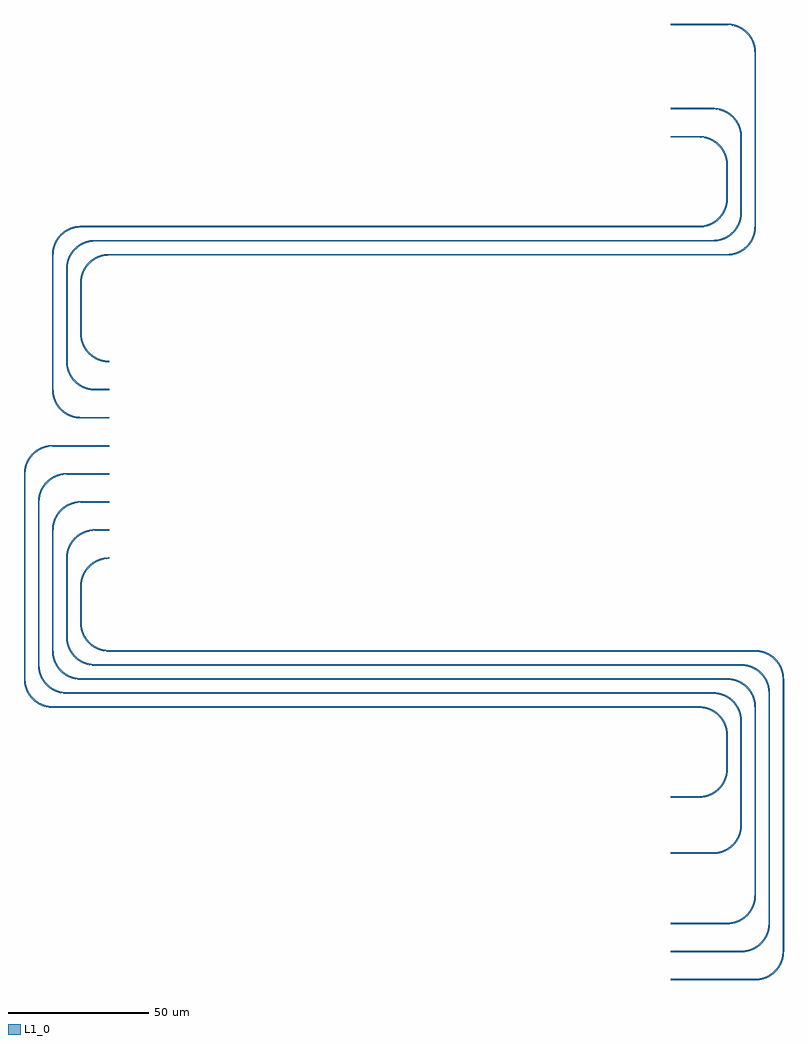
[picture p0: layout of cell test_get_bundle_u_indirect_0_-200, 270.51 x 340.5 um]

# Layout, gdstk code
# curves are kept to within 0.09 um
from math import pi, radians
import gdstk
lib = gdstk.Library(unit=1e-6, precision=1e-09)
def R(c, l, rs):  # rectangles x0, y0, x1, y1
    for r in rs: c.add(gdstk.rectangle(r[:2], r[2:], *l))
def P(c, l, *ps):  # polygons
    for p in ps: c.add(gdstk.Polygon(p, *l))
L1_0 = (1, 0)

bend_circular_cross_sec_ = lib.new_cell('bend_circular_cross_sec_81c7ebae')
P(bend_circular_cross_sec_, L1_0, [(0,-0.25),(1.967,-0.06),(3.013,0.203),(3.943,0.539),(5.685,1.471),(7.216,2.72),(8.479,4.24),(9.037,5.163),(9.461,6.057),(9.797,6.987),(10.06,8.033),(10.25,10),(9.75,10),(9.687,8.89),(9.516,7.878),(9.185,6.728),(8.79,5.781),(7.968,4.38),(6.924,3.136),(5.62,2.032),(4.219,1.21),(3.272,0.815),(2.122,0.484),(1.11,0.313),(0,0.25)])

straight_cross_sectionc_ = lib.new_cell('straight_cross_sectionc_74a84bee')
R(straight_cross_sectionc_, L1_0, [(0,-0.25,10,0.25)])

c_straight_cross_sectionc_ = lib.new_cell('straight_cross_sectionc_256c916e')
R(c_straight_cross_sectionc_, L1_0, [(0,-0.25,12,0.25)])

taper_cross_sectioncros_ = lib.new_cell('taper_cross_sectioncros_b20f334d')
R(taper_cross_sectioncros_, L1_0, [(0,-0.25,10,0.25)])

c_straight_cross_sectionc__ = lib.new_cell('straight_cross_sectionc_b9691882')
R(c_straight_cross_sectionc__, L1_0, [(0,-0.25,210.01,0.25)])

c_straight_cross_sectionc___ = lib.new_cell('straight_cross_sectionc_eeff4828')
R(c_straight_cross_sectionc___, L1_0, [(0,-0.25,73,0.25)])

c_straight_cross_sectionc____ = lib.new_cell('straight_cross_sectionc_2ac3342b')
R(c_straight_cross_sectionc____, L1_0, [(0,-0.25,20.01,0.25)])

c_straight_cross_sectionc_____ = lib.new_cell('straight_cross_sectionc_ccc8b978')
R(c_straight_cross_sectionc_____, L1_0, [(0,-0.25,15,0.25)])

c_straight_cross_sectionc______ = lib.new_cell('straight_cross_sectionc_3a0079ec')
R(c_straight_cross_sectionc______, L1_0, [(0,-0.25,37,0.25)])

c_straight_cross_sectionc_______ = lib.new_cell('straight_cross_sectionc_e7f5f520')
R(c_straight_cross_sectionc_______, L1_0, [(0,-0.25,58,0.25)])

c_straight_cross_sectionc________ = lib.new_cell('straight_cross_sectionc_7b91e607')
R(c_straight_cross_sectionc________, L1_0, [(0,-0.25,15.01,0.25)])

c_straight_cross_sectionc_________ = lib.new_cell('straight_cross_sectionc_7da930e0')
R(c_straight_cross_sectionc_________, L1_0, [(0,-0.25,20,0.25)])

c_straight_cross_sectionc__________ = lib.new_cell('straight_cross_sectionc_18cfbed0')
R(c_straight_cross_sectionc__________, L1_0, [(0,-0.25,67,0.25)])

c_straight_cross_sectionc___________ = lib.new_cell('straight_cross_sectionc_7511e1c2')
R(c_straight_cross_sectionc___________, L1_0, [(0,-0.25,43,0.25)])

c_straight_cross_sectionc____________ = lib.new_cell('straight_cross_sectionc_236e7ba1')
R(c_straight_cross_sectionc____________, L1_0, [(0,-0.25,10.01,0.25)])

c_straight_cross_sectionc_____________ = lib.new_cell('straight_cross_sectionc_07ffc600')
R(c_straight_cross_sectionc_____________, L1_0, [(0,-0.25,25,0.25)])

c_straight_cross_sectionc______________ = lib.new_cell('straight_cross_sectionc_e2d83a7b')
R(c_straight_cross_sectionc______________, L1_0, [(0,-0.25,82,0.25)])

c_straight_cross_sectionc_______________ = lib.new_cell('straight_cross_sectionc_ee92766f')
R(c_straight_cross_sectionc_______________, L1_0, [(0,-0.25,28,0.25)])

c_straight_cross_sectionc________________ = lib.new_cell('straight_cross_sectionc_0009f424')
R(c_straight_cross_sectionc________________, L1_0, [(0,-0.25,5.01,0.25)])

c_straight_cross_sectionc_________________ = lib.new_cell('straight_cross_sectionc_134885ba')
R(c_straight_cross_sectionc_________________, L1_0, [(0,-0.25,30,0.25)])

c_straight_cross_sectionc__________________ = lib.new_cell('straight_cross_sectionc_d660ddb1')
R(c_straight_cross_sectionc__________________, L1_0, [(0,-0.25,97,0.25)])

c_straight_cross_sectionc___________________ = lib.new_cell('straight_cross_sectionc_5ea4f134')
R(c_straight_cross_sectionc___________________, L1_0, [(0,-0.25,13,0.25)])

c_straight_cross_sectionc____________________ = lib.new_cell('straight_cross_sectionc_aca44847')
R(c_straight_cross_sectionc____________________, L1_0, [(0,-0.25,0.01,0.25)])

c_straight_cross_sectionc_____________________ = lib.new_cell('straight_cross_sectionc_b4956510')
R(c_straight_cross_sectionc_____________________, L1_0, [(0,-0.25,200.01,0.25)])

c_straight_cross_sectionc______________________ = lib.new_cell('straight_cross_sectionc_bd004c06')
R(c_straight_cross_sectionc______________________, L1_0, [(0,-0.25,48,0.25)])

c_straight_cross_sectionc_______________________ = lib.new_cell('straight_cross_sectionc_c0912e09')
R(c_straight_cross_sectionc_______________________, L1_0, [(0,-0.25,27,0.25)])

c_straight_cross_sectionc________________________ = lib.new_cell('straight_cross_sectionc_541b98be')
R(c_straight_cross_sectionc________________________, L1_0, [(0,-0.25,33,0.25)])

c_straight_cross_sectionc_________________________ = lib.new_cell('straight_cross_sectionc_62c1add6')
R(c_straight_cross_sectionc_________________________, L1_0, [(0,-0.25,62,0.25)])

c_straight_cross_sectionc__________________________ = lib.new_cell('straight_cross_sectionc_dd055ee9')
R(c_straight_cross_sectionc__________________________, L1_0, [(0,-0.25,18,0.25)])

test_get_bundle_u_indire = lib.new_cell('test_get_bundle_u_indirect_0_-200')
test_get_bundle_u_indire.add(gdstk.Reference(bend_circular_cross_sec_, (10,-35)))
test_get_bundle_u_indire.add(gdstk.Reference(bend_circular_cross_sec_, (20,-13), rotation=pi/2))
test_get_bundle_u_indire.add(gdstk.Reference(bend_circular_cross_sec_, (-220.01,-3), rotation=pi, x_reflection=True))
test_get_bundle_u_indire.add(gdstk.Reference(bend_circular_cross_sec_, (-230.01,80), rotation=pi/2, x_reflection=True))
test_get_bundle_u_indire.add(gdstk.Reference(straight_cross_sectionc_, (0,-35)))
test_get_bundle_u_indire.add(gdstk.Reference(c_straight_cross_sectionc_, (20,-25), rotation=pi/2))
test_get_bundle_u_indire.add(gdstk.Reference(taper_cross_sectioncros_, (10,-3), rotation=pi))
test_get_bundle_u_indire.add(gdstk.Reference(c_straight_cross_sectionc__, (0,-3), rotation=pi))
test_get_bundle_u_indire.add(gdstk.Reference(taper_cross_sectioncros_, (-220.01,-3)))
test_get_bundle_u_indire.add(gdstk.Reference(c_straight_cross_sectionc___, (-230.01,7), rotation=pi/2))
test_get_bundle_u_indire.add(gdstk.Reference(c_straight_cross_sectionc____, (-220.01,90)))
test_get_bundle_u_indire.add(gdstk.Reference(bend_circular_cross_sec_, (15,-55)))
test_get_bundle_u_indire.add(gdstk.Reference(bend_circular_cross_sec_, (25,-8), rotation=pi/2))
test_get_bundle_u_indire.add(gdstk.Reference(bend_circular_cross_sec_, (-215.01,2), rotation=pi, x_reflection=True))
test_get_bundle_u_indire.add(gdstk.Reference(bend_circular_cross_sec_, (-225.01,70), rotation=pi/2, x_reflection=True))
test_get_bundle_u_indire.add(gdstk.Reference(c_straight_cross_sectionc_____, (0,-55)))
test_get_bundle_u_indire.add(gdstk.Reference(c_straight_cross_sectionc______, (25,-45), rotation=pi/2))
test_get_bundle_u_indire.add(gdstk.Reference(taper_cross_sectioncros_, (15,2), rotation=pi))
test_get_bundle_u_indire.add(gdstk.Reference(c_straight_cross_sectionc__, (5,2), rotation=pi))
test_get_bundle_u_indire.add(gdstk.Reference(taper_cross_sectioncros_, (-215.01,2)))
test_get_bundle_u_indire.add(gdstk.Reference(c_straight_cross_sectionc_______, (-225.01,12), rotation=pi/2))
test_get_bundle_u_indire.add(gdstk.Reference(c_straight_cross_sectionc________, (-215.01,80)))
test_get_bundle_u_indire.add(gdstk.Reference(bend_circular_cross_sec_, (20,-80)))
test_get_bundle_u_indire.add(gdstk.Reference(bend_circular_cross_sec_, (30,-3), rotation=pi/2))
test_get_bundle_u_indire.add(gdstk.Reference(bend_circular_cross_sec_, (-210.01,7), rotation=pi, x_reflection=True))
test_get_bundle_u_indire.add(gdstk.Reference(bend_circular_cross_sec_, (-220.01,60), rotation=pi/2, x_reflection=True))
test_get_bundle_u_indire.add(gdstk.Reference(c_straight_cross_sectionc_________, (0,-80)))
test_get_bundle_u_indire.add(gdstk.Reference(c_straight_cross_sectionc__________, (30,-70), rotation=pi/2))
test_get_bundle_u_indire.add(gdstk.Reference(taper_cross_sectioncros_, (20,7), rotation=pi))
test_get_bundle_u_indire.add(gdstk.Reference(c_straight_cross_sectionc__, (10,7), rotation=pi))
test_get_bundle_u_indire.add(gdstk.Reference(taper_cross_sectioncros_, (-210.01,7)))
test_get_bundle_u_indire.add(gdstk.Reference(c_straight_cross_sectionc___________, (-220.01,17), rotation=pi/2))
test_get_bundle_u_indire.add(gdstk.Reference(c_straight_cross_sectionc____________, (-210.01,70)))
test_get_bundle_u_indire.add(gdstk.Reference(bend_circular_cross_sec_, (25,-90)))
test_get_bundle_u_indire.add(gdstk.Reference(bend_circular_cross_sec_, (35,2), rotation=pi/2))
test_get_bundle_u_indire.add(gdstk.Reference(bend_circular_cross_sec_, (-205.01,12), rotation=pi, x_reflection=True))
test_get_bundle_u_indire.add(gdstk.Reference(bend_circular_cross_sec_, (-215.01,50), rotation=pi/2, x_reflection=True))
test_get_bundle_u_indire.add(gdstk.Reference(c_straight_cross_sectionc_____________, (0,-90)))
test_get_bundle_u_indire.add(gdstk.Reference(c_straight_cross_sectionc______________, (35,-80), rotation=pi/2))
test_get_bundle_u_indire.add(gdstk.Reference(taper_cross_sectioncros_, (25,12), rotation=pi))
test_get_bundle_u_indire.add(gdstk.Reference(c_straight_cross_sectionc__, (15,12), rotation=pi))
test_get_bundle_u_indire.add(gdstk.Reference(taper_cross_sectioncros_, (-205.01,12)))
test_get_bundle_u_indire.add(gdstk.Reference(c_straight_cross_sectionc_______________, (-215.01,22), rotation=pi/2))
test_get_bundle_u_indire.add(gdstk.Reference(c_straight_cross_sectionc________________, (-205.01,60)))
test_get_bundle_u_indire.add(gdstk.Reference(bend_circular_cross_sec_, (30,-100)))
test_get_bundle_u_indire.add(gdstk.Reference(bend_circular_cross_sec_, (40,7), rotation=pi/2))
test_get_bundle_u_indire.add(gdstk.Reference(bend_circular_cross_sec_, (-200.01,17), rotation=pi, x_reflection=True))
test_get_bundle_u_indire.add(gdstk.Reference(bend_circular_cross_sec_, (-210.01,40), rotation=pi/2, x_reflection=True))
test_get_bundle_u_indire.add(gdstk.Reference(c_straight_cross_sectionc_________________, (0,-100)))
test_get_bundle_u_indire.add(gdstk.Reference(c_straight_cross_sectionc__________________, (40,-90), rotation=pi/2))
test_get_bundle_u_indire.add(gdstk.Reference(taper_cross_sectioncros_, (30,17), rotation=pi))
test_get_bundle_u_indire.add(gdstk.Reference(c_straight_cross_sectionc__, (20,17), rotation=pi))
test_get_bundle_u_indire.add(gdstk.Reference(taper_cross_sectioncros_, (-200.01,17)))
test_get_bundle_u_indire.add(gdstk.Reference(c_straight_cross_sectionc___________________, (-210.01,27), rotation=pi/2))
test_get_bundle_u_indire.add(gdstk.Reference(c_straight_cross_sectionc____________________, (-200.01,50)))
test_get_bundle_u_indire.add(gdstk.Reference(bend_circular_cross_sec_, (10,200), x_reflection=True))
test_get_bundle_u_indire.add(gdstk.Reference(bend_circular_cross_sec_, (20,178), rotation=3*pi/2, x_reflection=True))
test_get_bundle_u_indire.add(gdstk.Reference(bend_circular_cross_sec_, (-210.01,168), rotation=pi))
test_get_bundle_u_indire.add(gdstk.Reference(bend_circular_cross_sec_, (-220.01,110), rotation=3*pi/2))
test_get_bundle_u_indire.add(gdstk.Reference(straight_cross_sectionc_, (0,200)))
test_get_bundle_u_indire.add(gdstk.Reference(c_straight_cross_sectionc_, (20,190), rotation=3*pi/2))
test_get_bundle_u_indire.add(gdstk.Reference(taper_cross_sectioncros_, (10,168), rotation=pi))
test_get_bundle_u_indire.add(gdstk.Reference(c_straight_cross_sectionc_____________________, (0,168), rotation=pi))
test_get_bundle_u_indire.add(gdstk.Reference(taper_cross_sectioncros_, (-210.01,168)))
test_get_bundle_u_indire.add(gdstk.Reference(c_straight_cross_sectionc______________________, (-220.01,158), rotation=3*pi/2))
test_get_bundle_u_indire.add(gdstk.Reference(c_straight_cross_sectionc____________, (-210.01,100)))
test_get_bundle_u_indire.add(gdstk.Reference(bend_circular_cross_sec_, (15,210), x_reflection=True))
test_get_bundle_u_indire.add(gdstk.Reference(bend_circular_cross_sec_, (25,173), rotation=3*pi/2, x_reflection=True))
test_get_bundle_u_indire.add(gdstk.Reference(bend_circular_cross_sec_, (-205.01,163), rotation=pi))
test_get_bundle_u_indire.add(gdstk.Reference(bend_circular_cross_sec_, (-215.01,120), rotation=3*pi/2))
test_get_bundle_u_indire.add(gdstk.Reference(c_straight_cross_sectionc_____, (0,210)))
test_get_bundle_u_indire.add(gdstk.Reference(c_straight_cross_sectionc_______________________, (25,200), rotation=3*pi/2))
test_get_bundle_u_indire.add(gdstk.Reference(taper_cross_sectioncros_, (15,163), rotation=pi))
test_get_bundle_u_indire.add(gdstk.Reference(c_straight_cross_sectionc_____________________, (5,163), rotation=pi))
test_get_bundle_u_indire.add(gdstk.Reference(taper_cross_sectioncros_, (-205.01,163)))
test_get_bundle_u_indire.add(gdstk.Reference(c_straight_cross_sectionc________________________, (-215.01,153), rotation=3*pi/2))
test_get_bundle_u_indire.add(gdstk.Reference(c_straight_cross_sectionc________________, (-205.01,110)))
test_get_bundle_u_indire.add(gdstk.Reference(bend_circular_cross_sec_, (20,240), x_reflection=True))
test_get_bundle_u_indire.add(gdstk.Reference(bend_circular_cross_sec_, (30,168), rotation=3*pi/2, x_reflection=True))
test_get_bundle_u_indire.add(gdstk.Reference(bend_circular_cross_sec_, (-200.01,158), rotation=pi))
test_get_bundle_u_indire.add(gdstk.Reference(bend_circular_cross_sec_, (-210.01,130), rotation=3*pi/2))
test_get_bundle_u_indire.add(gdstk.Reference(c_straight_cross_sectionc_________, (0,240)))
test_get_bundle_u_indire.add(gdstk.Reference(c_straight_cross_sectionc_________________________, (30,230), rotation=3*pi/2))
test_get_bundle_u_indire.add(gdstk.Reference(taper_cross_sectioncros_, (20,158), rotation=pi))
test_get_bundle_u_indire.add(gdstk.Reference(c_straight_cross_sectionc_____________________, (10,158), rotation=pi))
test_get_bundle_u_indire.add(gdstk.Reference(taper_cross_sectioncros_, (-200.01,158)))
test_get_bundle_u_indire.add(gdstk.Reference(c_straight_cross_sectionc__________________________, (-210.01,148), rotation=3*pi/2))
test_get_bundle_u_indire.add(gdstk.Reference(c_straight_cross_sectionc____________________, (-200.01,120)))

lib.write_gds('test_get_bundle_u_indirect_0_-200.gds')
